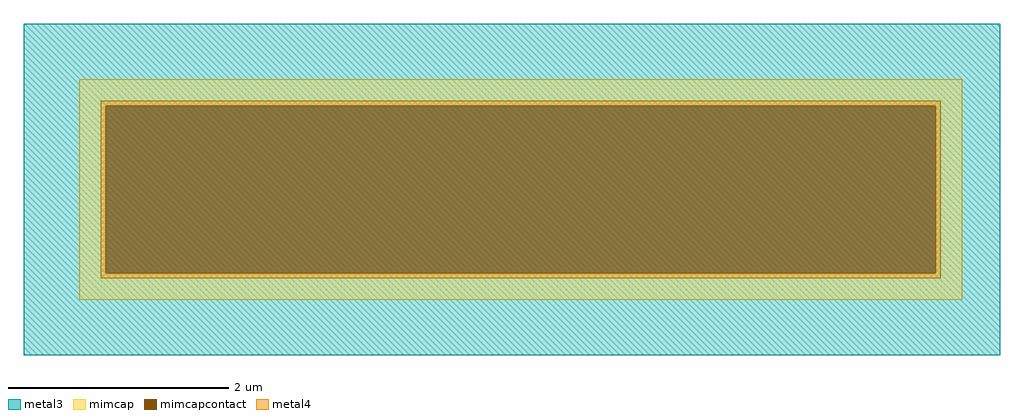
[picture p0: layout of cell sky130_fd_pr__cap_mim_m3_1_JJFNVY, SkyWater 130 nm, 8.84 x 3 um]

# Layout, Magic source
magic
tech sky130A
magscale 1 2
<< metal3 >>
rect -950 -300 818 300
<< mimcap >>
rect -850 152 750 200
rect -850 -152 -802 152
rect 702 -152 750 152
rect -850 -200 750 -152
<< mimcapcontact >>
rect -802 -152 702 152
<< metal4 >>
rect -811 152 711 161
rect -811 -152 -802 152
rect 702 -152 711 152
rect -811 -161 711 -152
<< properties >>
string FIXED_BBOX -950 -300 850 300
<< end >>
